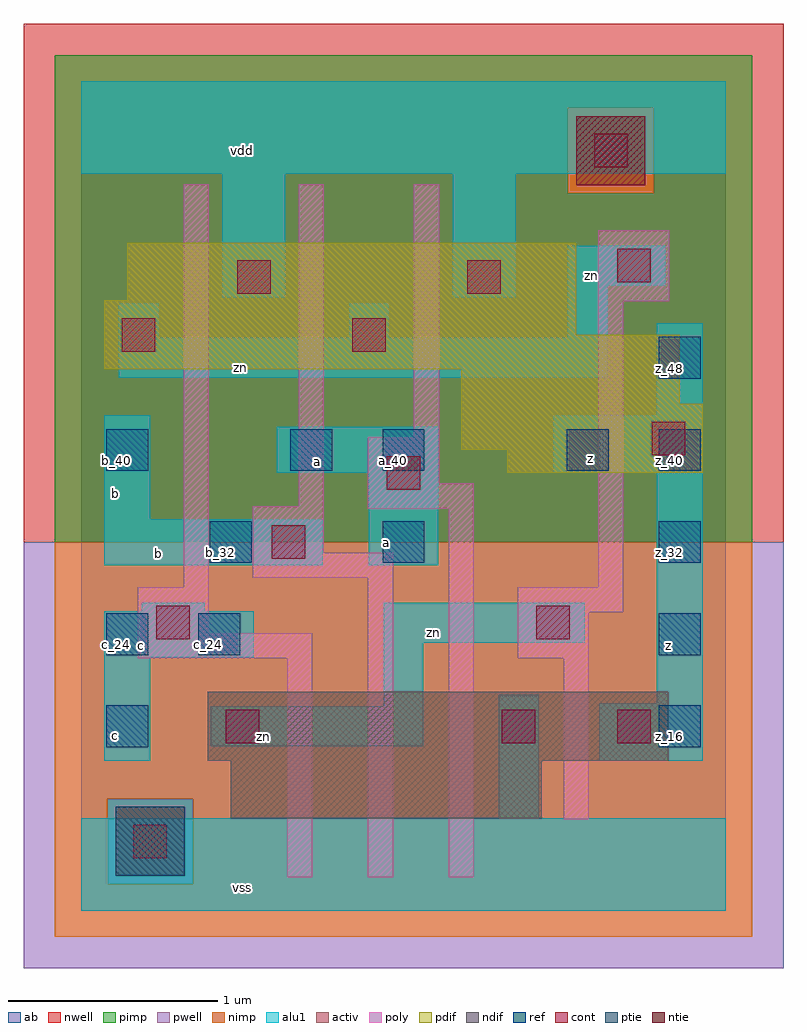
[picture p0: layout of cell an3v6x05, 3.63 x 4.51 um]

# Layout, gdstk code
import gdstk
lib = gdstk.Library(unit=1e-6, precision=2.5e-09)
def R(c, l, rs):  # rectangles x0, y0, x1, y1
    for r in rs: c.add(gdstk.rectangle(r[:2], r[2:], *l))
def A(c, l, x, y, w, h, nx, ny, dx, dy):  # array of equal rectangles
    R(c, l, [(x+i*dx, y+j*dy, x+i*dx+w, y+j*dy+h) for i in range(nx) for j in range(ny)])
ndif = (3, 0)
pdif = (4, 0)
ntie = (5, 0)
ptie = (6, 0)
ref = (24, 0)
cont = (25, 0)
pwell = (41, 0)
nwell = (42, 0)
activ = (43, 0)
pimp = (44, 0)
nimp = (45, 0)
poly = (46, 0)
alu1 = (49, 0)
ab = (63, 0)

an3v6x05 = lib.new_cell('an3v6x05')
R(an3v6x05, ndif, [(0.715,0.44,2.2,0.715), (0.605,0.715,2.805,1.045)])
R(an3v6x05, pdif, [(2.035,2.09,2.97,2.2), (1.815,2.2,2.97,2.42), (1.815,2.42,2.86,2.585), (0.11,2.585,2.86,2.75), (0.11,2.75,2.365,2.915), (0.22,2.915,2.365,3.19)])
R(an3v6x05, ntie, [(2.365,3.465,2.695,3.795)])
R(an3v6x05, ptie, [(0.165,0.165,0.495,0.495)])
A(an3v6x05, ref, 2.76, 0.78, 0.2, 0.2, 1, 5, 0, 0.44)
R(an3v6x05, ref, [(0.12,0.78,0.32,0.98), (0.12,1.22,0.32,1.42), (0.56,1.22,0.76,1.42), (0.615,1.66,0.815,1.86), (1.44,1.66,1.64,1.86), (0.12,2.1,0.32,2.3), (1,2.1,1.2,2.3), (1.44,2.1,1.64,2.3), (2.32,2.1,2.52,2.3)])
R(an3v6x05, cont, [(0.25,0.25,0.41,0.41), (0.69,0.8,0.85,0.96), (2.01,0.8,2.17,0.96), (2.56,0.8,2.72,0.96), (0.36,1.295,0.52,1.455), (2.175,1.295,2.335,1.455), (0.91,1.68,1.07,1.84), (1.46,2.01,1.62,2.17), (2.725,2.175,2.885,2.335), (0.195,2.67,0.355,2.83), (1.295,2.67,1.455,2.83), (0.745,2.945,0.905,3.105), (1.845,2.945,2.005,3.105), (2.56,3,2.72,3.16), (2.45,3.55,2.61,3.71)])
R(an3v6x05, pwell, [(-0.275,-0.275,3.355,1.76)])
R(an3v6x05, nwell, [(-0.275,1.76,3.355,4.235)])
R(an3v6x05, activ, [(0.165,0.165,0.495,0.495), (0.715,0.44,2.2,0.715), (0.605,0.715,2.805,1.045), (2.035,2.09,2.97,2.2), (1.815,2.2,2.97,2.42), (1.815,2.42,2.86,2.585), (0.11,2.585,2.86,2.75), (0.11,2.75,2.365,2.915), (0.22,2.915,2.365,3.19), (2.365,3.465,2.695,3.795)])
R(an3v6x05, pimp, [(0.125,0.125,0.535,0.535), (-0.125,1.76,3.205,3.425), (-0.125,3.425,2.325,3.835), (2.735,3.425,3.205,3.835), (-0.125,3.835,3.205,4.085)])
R(an3v6x05, nimp, [(-0.125,-0.125,3.205,0.125), (-0.125,0.125,0.125,0.535), (0.535,0.125,3.205,0.535), (-0.125,0.535,3.205,1.76), (2.325,3.425,2.735,3.835)])
R(an3v6x05, poly, [(0.985,0.16,1.105,1.205), (1.37,0.16,1.49,1.59), (1.755,0.16,1.875,1.92), (2.305,0.435,2.425,1.205), (0.27,1.205,1.105,1.325), (2.085,1.205,2.425,1.425), (0.27,1.325,0.61,1.545), (2.085,1.425,2.59,1.545), (0.49,1.545,0.61,3.47), (2.47,1.545,2.59,2.91), (0.82,1.59,1.49,1.71), (0.82,1.71,1.16,1.93), (1.37,1.92,1.875,2.04), (1.04,1.93,1.16,3.47), (1.37,2.04,1.71,2.26), (1.59,2.26,1.71,3.47), (2.47,2.91,2.81,3.25)])
R(an3v6x05, alu1, [(0,0,3.08,0.44), (1.995,0.44,2.185,1.03), (0.11,0.715,0.33,1.21), (2.475,0.715,2.97,0.99), (0.62,0.785,1.635,0.975), (1.445,0.975,1.635,1.28), (2.75,0.99,2.97,2.09), (0.11,1.21,0.825,1.43), (1.445,1.28,2.405,1.47), (0.29,1.43,0.59,1.47), (0.11,1.65,1.155,1.87), (1.375,1.65,1.705,2.09), (0.11,1.87,0.33,2.365), (0.935,2.09,1.705,2.31), (2.255,2.09,2.97,2.365), (2.75,2.365,2.97,2.805), (0.18,2.545,2.515,2.735), (0.18,2.735,0.37,2.9), (1.28,2.735,1.47,2.9), (2.325,2.735,2.515,2.985), (0.675,2.93,0.975,3.52), (1.775,2.93,2.075,3.52), (2.325,2.985,2.79,3.175), (0,3.52,3.08,3.96)])
R(an3v6x05, ab, [(0,0,3.08,3.96)])
an3v6x05.add(gdstk.Label('vss', (0.77,0.11), layer=49, texttype=0))
an3v6x05.add(gdstk.Label('z', (2.805,1.265), layer=49, texttype=0))
an3v6x05.add(gdstk.Label('zn', (0.8725,0.8325), layer=49, texttype=0))
an3v6x05.add(gdstk.Label('c', (0.165,0.8375), layer=49, texttype=0))
an3v6x05.add(gdstk.Label('zn', (1.685,1.3275), layer=49, texttype=0))
an3v6x05.add(gdstk.Label('c', (0.2875,1.265), layer=49, texttype=0))
an3v6x05.add(gdstk.Label('a', (1.4575,1.76), layer=49, texttype=0))
an3v6x05.add(gdstk.Label('b', (0.37,1.705), layer=49, texttype=0))
an3v6x05.add(gdstk.Label('z', (2.4325,2.1575), layer=49, texttype=0))
an3v6x05.add(gdstk.Label('a', (1.1275,2.145), layer=49, texttype=0))
an3v6x05.add(gdstk.Label('b', (0.165,1.9925), layer=49, texttype=0))
an3v6x05.add(gdstk.Label('zn', (0.7625,2.5925), layer=49, texttype=0))
an3v6x05.add(gdstk.Label('zn', (2.44,3.0325), layer=49, texttype=0))
an3v6x05.add(gdstk.Label('vdd', (0.77,3.63), layer=49, texttype=0))
an3v6x05.add(gdstk.Label('z_48', (2.81,2.59), layer=24, texttype=0))
an3v6x05.add(gdstk.Label('a_40', (1.05,2.15), layer=24, texttype=0))
an3v6x05.add(gdstk.Label('a_40', (1.49,2.15), layer=24, texttype=0))
an3v6x05.add(gdstk.Label('b_32', (0.665,1.71), layer=24, texttype=0))
an3v6x05.add(gdstk.Label('b_40', (0.17,2.15), layer=24, texttype=0))
an3v6x05.add(gdstk.Label('c_16', (0.17,0.83), layer=24, texttype=0))
an3v6x05.add(gdstk.Label('z_16', (2.81,0.83), layer=24, texttype=0))
an3v6x05.add(gdstk.Label('z_40', (2.81,2.15), layer=24, texttype=0))
an3v6x05.add(gdstk.Label('z_24', (2.81,1.27), layer=24, texttype=0))
an3v6x05.add(gdstk.Label('z_32', (2.81,1.71), layer=24, texttype=0))
an3v6x05.add(gdstk.Label('a_32', (1.49,1.71), layer=24, texttype=0))
an3v6x05.add(gdstk.Label('z_40', (2.37,2.15), layer=24, texttype=0))
an3v6x05.add(gdstk.Label('c_24', (0.17,1.27), layer=24, texttype=0))
an3v6x05.add(gdstk.Label('c_24', (0.61,1.27), layer=24, texttype=0))

lib.write_gds('an3v6x05.gds')
